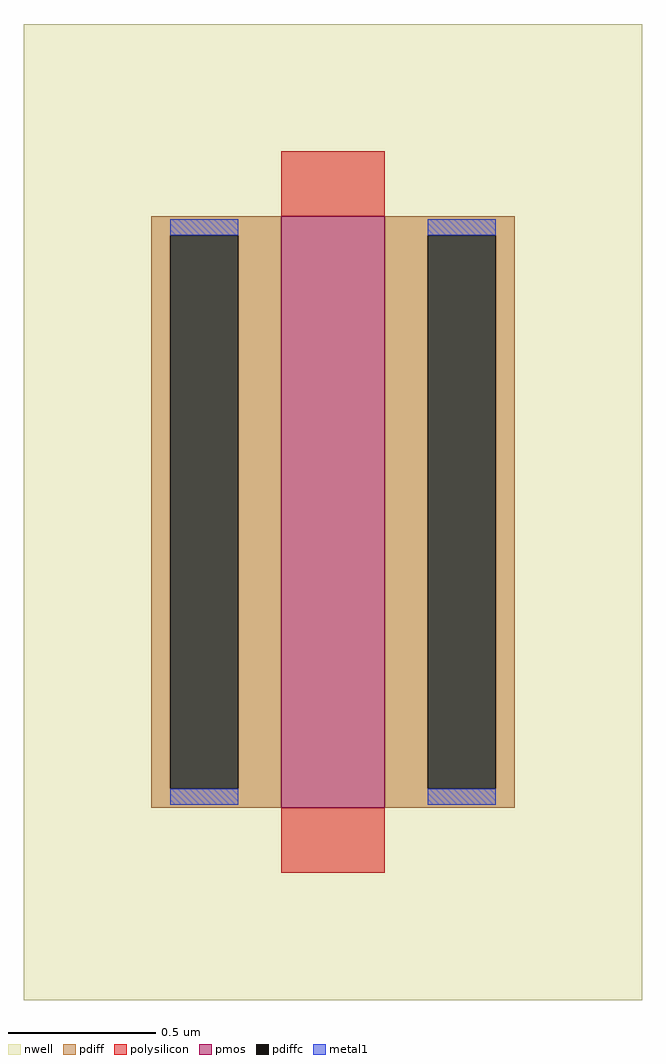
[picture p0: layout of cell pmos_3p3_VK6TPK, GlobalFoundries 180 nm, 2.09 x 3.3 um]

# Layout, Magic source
magic
tech gf180mcuC
magscale 1 10
<< nwell >>
rect -209 -330 209 330
<< pmos >>
rect -35 -200 35 200
<< pdiff >>
rect -123 187 -35 200
rect -123 -187 -110 187
rect -64 -187 -35 187
rect -123 -200 -35 -187
rect 35 187 123 200
rect 35 -187 64 187
rect 110 -187 123 187
rect 35 -200 123 -187
<< pdiffc >>
rect -110 -187 -64 187
rect 64 -187 110 187
<< polysilicon >>
rect -35 200 35 244
rect -35 -244 35 -200
<< metal1 >>
rect -110 187 -64 198
rect -110 -198 -64 -187
rect 64 187 110 198
rect 64 -198 110 -187
<< properties >>
string gencell pmos_3p3
string library gf180mcu
string parameters w 2 l 0.35 m 1 nf 1 diffcov 100 polycov 100 guard 0 glc 0 grc 0 gtc 0 gbc 0 tbcov 100 rlcov 100 topc 0 botc 0 poverlap 0 doverlap 1 lmin 0.28 wmin 0.22 full_metal 0 compatible {pmos_3p3 pmos_6p0}
<< end >>
